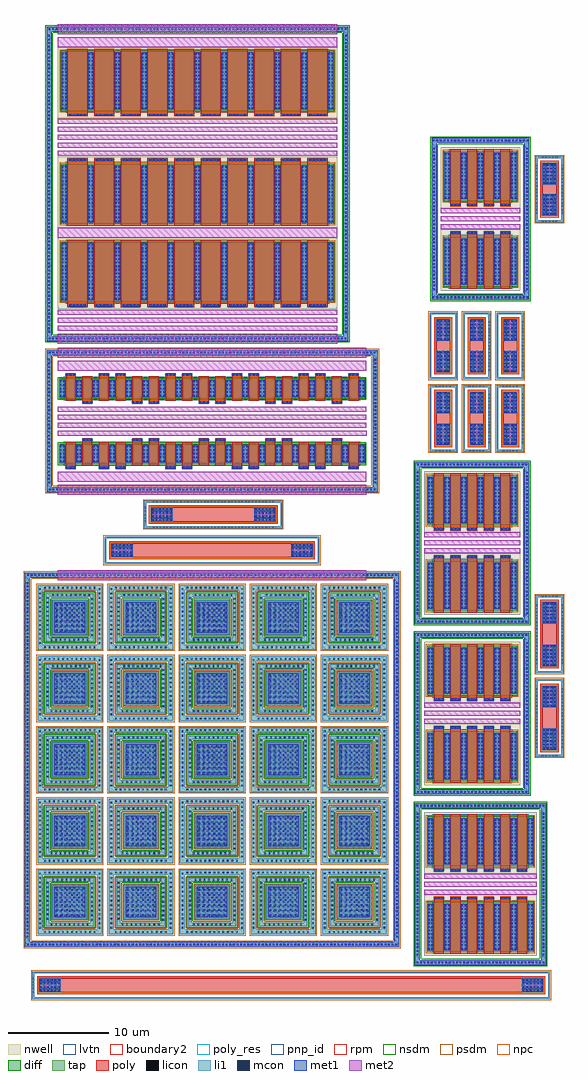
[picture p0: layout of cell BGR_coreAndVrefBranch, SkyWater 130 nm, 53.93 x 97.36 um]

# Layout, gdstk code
from math import pi, radians
import gdstk
lib = gdstk.Library(unit=1e-6, precision=5e-09)
def R(c, l, rs):  # rectangles x0, y0, x1, y1
    for r in rs: c.add(gdstk.rectangle(r[:2], r[2:], *l))
def A(c, l, x, y, w, h, nx, ny, dx, dy):  # array of equal rectangles
    R(c, l, [(x+i*dx, y+j*dy, x+i*dx+w, y+j*dy+h) for i in range(nx) for j in range(ny)])
def P(c, l, *ps):  # polygons
    for p in ps: c.add(gdstk.Polygon(p, *l))
nwell = (64, 20)
diff = (65, 20)
tap = (65, 44)
poly_res = (66, 13)
poly = (66, 20)
licon = (66, 44)
li1 = (67, 20)
mcon = (67, 44)
met1 = (68, 20)
met2 = (69, 20)
pnp_id = (82, 44)
rpm = (86, 20)
nsdm = (93, 44)
psdm = (94, 20)
npc = (95, 20)
lvtn = (125, 44)
boundary2 = (236, 0)

guard_ring_gen_12 = lib.new_cell('guard_ring_gen$12')
P(guard_ring_gen_12, tap, [(-0.5,-0.5),(-0.5,36.35),(0,36.35),(0,0),(36.35,0),(36.35,36.35),(-0.5,36.35),(-0.5,36.85),(36.85,36.85),(36.85,-0.5)])
A(guard_ring_gen_12, licon, -0.27, -0.335, 0.17, 0.17, 103, 2, 0.36, 36.85)
A(guard_ring_gen_12, licon, -0.335, 0.45, 0.17, 0.17, 1, 99, 0, 0.36)
A(guard_ring_gen_12, licon, 36.515, 0.45, 0.17, 0.17, 1, 99, 0, 0.36)
P(guard_ring_gen_12, li1, [(-0.5,-0.5),(-0.5,36.35),(0,36.35),(0,0),(36.35,0),(36.35,36.35),(-0.5,36.35),(-0.5,36.85),(36.85,36.85),(36.85,-0.5)])
A(guard_ring_gen_12, mcon, -0.27, -0.335, 0.17, 0.17, 103, 2, 0.36, 36.85)
A(guard_ring_gen_12, mcon, -0.335, 0.45, 0.17, 0.17, 1, 99, 0, 0.36)
A(guard_ring_gen_12, mcon, 36.515, 0.45, 0.17, 0.17, 1, 99, 0, 0.36)
P(guard_ring_gen_12, met1, [(-0.5,-0.5),(-0.5,36.35),(0,36.35),(0,0),(36.35,0),(36.35,36.35),(-0.5,36.35),(-0.5,36.85),(36.85,36.85),(36.85,-0.5)])
P(guard_ring_gen_12, psdm, [(-0.625,-0.625),(-0.625,36.225),(0.125,36.225),(0.125,0.125),(36.225,0.125),(36.225,36.225),(-0.625,36.225),(-0.625,36.975),(36.975,36.975),(36.975,-0.625)])

res_poly_4 = lib.new_cell('res_poly$4')
R(res_poly_4, tap, [(-1.355,-25.81,1.355,-25.64), (-1.355,-25.64,-1.185,25.64), (1.185,-25.64,1.355,25.64), (-1.355,25.64,1.355,25.81)])
R(res_poly_4, poly_res, [(-0.705,-23.06,0.705,23.06)])
R(res_poly_4, poly, [(-0.705,-25.16,0.705,25.16)])
A(res_poly_4, licon, -0.765, -25.81, 0.17, 0.17, 5, 2, 0.34, 51.45)
A(res_poly_4, licon, -1.355, -24.905, 0.17, 0.17, 1, 147, 0, 0.34)
A(res_poly_4, licon, 1.185, -24.905, 0.17, 0.17, 1, 147, 0, 0.34)
R(res_poly_4, licon, [(-0.45,-25.08,-0.26,-23.08), (0.26,-25.08,0.45,-23.08), (-0.45,23.08,-0.26,25.08), (0.26,23.08,0.45,25.08)])
R(res_poly_4, li1, [(-1.355,-25.81,1.355,-25.64), (-1.355,-25.64,-1.185,25.64), (1.185,-25.64,1.355,25.64), (-0.705,-25.16,0.705,-23), (-0.705,23,0.705,25.16), (-1.355,25.64,1.355,25.81)])
A(res_poly_4, mcon, -0.625, -25.06, 0.17, 0.17, 4, 6, 0.36, 0.36)
A(res_poly_4, mcon, -0.625, 23.095, 0.17, 0.17, 4, 6, 0.36, 0.36)
R(res_poly_4, met1, [(-0.655,-25.13,0.655,-23.025), (-0.655,23.025,0.655,25.13)])
R(res_poly_4, rpm, [(-0.905,-25.36,0.905,25.36)])
R(res_poly_4, psdm, [(-1.48,-25.935,1.48,25.935)])
R(res_poly_4, npc, [(-0.8,-25.255,0.8,25.255)])

res_poly_13 = lib.new_cell('res_poly$13')
R(res_poly_13, tap, [(-1.355,-10.71,1.355,-10.54), (-1.355,-10.54,-1.185,10.54), (1.185,-10.54,1.355,10.54), (-1.355,10.54,1.355,10.71)])
R(res_poly_13, poly_res, [(-0.705,-7.96,0.705,7.96)])
R(res_poly_13, poly, [(-0.705,-10.06,0.705,10.06)])
A(res_poly_13, licon, -0.765, -10.71, 0.17, 0.17, 5, 2, 0.34, 21.25)
A(res_poly_13, licon, -1.355, -9.945, 0.17, 0.17, 1, 59, 0, 0.34)
A(res_poly_13, licon, 1.185, -9.945, 0.17, 0.17, 1, 59, 0, 0.34)
R(res_poly_13, licon, [(-0.45,-9.98,-0.26,-7.98), (0.26,-9.98,0.45,-7.98), (-0.45,7.98,-0.26,9.98), (0.26,7.98,0.45,9.98)])
R(res_poly_13, li1, [(-1.355,-10.71,1.355,-10.54), (-1.355,-10.54,-1.185,10.54), (1.185,-10.54,1.355,10.54), (-0.705,-10.06,0.705,-7.9), (-0.705,7.9,0.705,10.06), (-1.355,10.54,1.355,10.71)])
A(res_poly_13, mcon, -0.625, -9.96, 0.17, 0.17, 4, 6, 0.36, 0.36)
A(res_poly_13, mcon, -0.625, 7.995, 0.17, 0.17, 4, 6, 0.36, 0.36)
R(res_poly_13, met1, [(-0.655,-10.03,0.655,-7.925), (-0.655,7.925,0.655,10.03)])
R(res_poly_13, rpm, [(-0.905,-10.26,0.905,10.26)])
R(res_poly_13, psdm, [(-1.48,-10.835,1.48,10.835)])
R(res_poly_13, npc, [(-0.8,-10.155,0.8,10.155)])

pnp_bjt = lib.new_cell('pnp_bjt')
R(pnp_bjt, nwell, [(0.765,0.765,5.935,5.935)])
R(pnp_bjt, diff, [(1.65,1.65,5.05,5.05)])
P(pnp_bjt, tap, [(0.945,0.945),(0.945,5.755),(5.395,5.755),(5.395,5.395),(1.305,5.395),(1.305,1.305),(5.395,1.305),(5.395,5.755),(5.755,5.755),(5.755,0.945)],
  [(0.13,0.13),(0.13,6.57),(6.065,6.57),(6.065,6.065),(0.635,6.065),(0.635,0.635),(6.065,0.635),(6.065,6.57),(6.57,6.57),(6.57,0.13)])
A(pnp_bjt, licon, 0.78, 0.29, 0.17, 0.17, 12, 2, 0.45, 5.935)
A(pnp_bjt, licon, 0.3, 0.71, 0.17, 0.17, 1, 13, 0, 0.45)
A(pnp_bjt, licon, 6.235, 0.71, 0.17, 0.17, 1, 13, 0, 0.45)
A(pnp_bjt, licon, 1.43, 1.04, 0.17, 0.17, 9, 1, 0.45, 0)
A(pnp_bjt, licon, 5.49, 1.51, 0.17, 0.17, 1, 9, 0, 0.45)
A(pnp_bjt, licon, 1.04, 1.605, 0.17, 0.17, 1, 9, 0, 0.45)
A(pnp_bjt, licon, 1.92, 1.92, 0.17, 0.17, 7, 7, 0.45, 0.45)
A(pnp_bjt, licon, 1.6, 5.49, 0.17, 0.17, 9, 1, 0.45, 0)
A(pnp_bjt, li1, 0.58, 0.21, 0.33, 0.33, 12, 1, 0.45, 0)
A(pnp_bjt, li1, 0.675, 0.24, 0.27, 0.27, 11, 2, 0.5, 5.96)
A(pnp_bjt, li1, 6.16, 0.54, 0.33, 0.33, 1, 13, 0, 0.45)
A(pnp_bjt, li1, 0.22, 0.63, 0.33, 0.33, 1, 13, 0, 0.45)
A(pnp_bjt, li1, 1.35, 0.96, 0.33, 0.33, 9, 1, 0.45, 0)
A(pnp_bjt, li1, 1.14, 0.985, 0.27, 0.27, 9, 1, 0.5, 0)
A(pnp_bjt, li1, 5.41, 1.43, 0.33, 0.33, 1, 9, 0, 0.45)
A(pnp_bjt, li1, 0.96, 1.525, 0.33, 0.33, 1, 9, 0, 0.45)
A(pnp_bjt, li1, 1.84, 1.84, 0.33, 0.33, 7, 7, 0.45, 0.45)
A(pnp_bjt, li1, 1.93, 1.93, 0.27, 0.27, 6, 6, 0.5, 0.5)
A(pnp_bjt, li1, 1.52, 5.41, 0.33, 0.33, 9, 1, 0.45, 0)
A(pnp_bjt, li1, 1.155, 5.44, 0.27, 0.27, 9, 1, 0.5, 0)
A(pnp_bjt, li1, 0.7, 6.165, 0.33, 0.33, 12, 1, 0.45, 0)
R(pnp_bjt, li1, [(1.615,1.615,5.085,5.085), (1.65,1.65,5.05,5.05)])
P(pnp_bjt, li1, [(0.13,0.13),(0.13,6.57),(6.075,6.57),(6.075,6.075),(0.625,6.075),(0.625,0.625),(6.075,0.625),(6.075,6.57),(6.57,6.57),(6.57,0.13)],
  [(0.945,0.945),(0.945,5.755),(5.395,5.755),(5.395,5.395),(1.305,5.395),(1.305,1.305),(5.395,1.305),(5.395,5.755),(5.755,5.755),(5.755,0.945)])
A(pnp_bjt, mcon, 1.98, 1.98, 0.17, 0.17, 6, 6, 0.5, 0.5)
A(pnp_bjt, met1, 1.93, 1.93, 0.27, 0.27, 6, 6, 0.5, 0.5)
R(pnp_bjt, met1, [(1.825,1.825,4.875,4.875)])
R(pnp_bjt, pnp_id, [(0.135,0.135,6.565,6.565)])
P(pnp_bjt, nsdm, [(0.805,0.805),(0.805,5.895),(5.265,5.895),(5.265,5.265),(1.435,5.265),(1.435,1.435),(5.265,1.435),(5.265,5.895),(5.895,5.895),(5.895,0.805)])
R(pnp_bjt, psdm, [(1.52,1.52,5.18,5.18)])
P(pnp_bjt, psdm, [(0,0),(0,6.7),(5.935,6.7),(5.935,5.935),(0.765,5.935),(0.765,0.765),(5.935,0.765),(5.935,6.7),(6.7,6.7),(6.7,0)])
R(pnp_bjt, boundary2, [(0.13,0.13,6.57,6.57)])
pnp_bjt.add(gdstk.Label('Emitter', (3.39,3.39), layer=67, texttype=5))
pnp_bjt.add(gdstk.Label('Collector', (3.32,6.38), layer=67, texttype=5))
pnp_bjt.add(gdstk.Label('Base', (3.245,5.61), layer=67, texttype=5))

guard_ring_gen_5 = lib.new_cell('guard_ring_gen$5')
P(guard_ring_gen_5, tap, [(-0.5,-0.5),(-0.5,15.145),(0,15.145),(0,0),(10.42,0),(10.42,15.145),(-0.5,15.145),(-0.5,15.645),(10.92,15.645),(10.92,-0.5)])
A(guard_ring_gen_5, licon, -0.275, -0.335, 0.17, 0.17, 31, 2, 0.36, 15.645)
A(guard_ring_gen_5, licon, -0.335, 0.47, 0.17, 0.17, 1, 40, 0, 0.36)
A(guard_ring_gen_5, licon, 10.585, 0.47, 0.17, 0.17, 1, 40, 0, 0.36)
P(guard_ring_gen_5, li1, [(-0.5,-0.5),(-0.5,15.145),(0,15.145),(0,0),(10.42,0),(10.42,15.145),(-0.5,15.145),(-0.5,15.645),(10.92,15.645),(10.92,-0.5)])
A(guard_ring_gen_5, mcon, -0.275, -0.335, 0.17, 0.17, 31, 2, 0.36, 15.645)
A(guard_ring_gen_5, mcon, -0.335, 0.47, 0.17, 0.17, 1, 40, 0, 0.36)
A(guard_ring_gen_5, mcon, 10.585, 0.47, 0.17, 0.17, 1, 40, 0, 0.36)
P(guard_ring_gen_5, met1, [(-0.5,-0.5),(-0.5,15.145),(0,15.145),(0,0),(10.42,0),(10.42,15.145),(-0.5,15.145),(-0.5,15.645),(10.92,15.645),(10.92,-0.5)])
P(guard_ring_gen_5, nsdm, [(-0.625,-0.625),(-0.625,15.02),(0.125,15.02),(0.125,0.125),(10.295,0.125),(10.295,15.02),(-0.625,15.02),(-0.625,15.77),(11.045,15.77),(11.045,-0.625)])

guard_ring_gen_13 = lib.new_cell('guard_ring_gen$13')
P(guard_ring_gen_13, tap, [(-0.5,-0.5),(-0.5,13.165),(0,13.165),(0,0),(32.04,0),(32.04,13.165),(-0.5,13.165),(-0.5,13.665),(32.54,13.665),(32.54,-0.5)])
A(guard_ring_gen_13, licon, -0.265, -0.335, 0.17, 0.17, 91, 2, 0.36, 13.665)
A(guard_ring_gen_13, licon, -0.335, 0.38, 0.17, 0.17, 1, 35, 0, 0.36)
A(guard_ring_gen_13, licon, 32.205, 0.38, 0.17, 0.17, 1, 35, 0, 0.36)
P(guard_ring_gen_13, li1, [(-0.5,-0.5),(-0.5,13.165),(0,13.165),(0,0),(32.04,0),(32.04,13.165),(-0.5,13.165),(-0.5,13.665),(32.54,13.665),(32.54,-0.5)])
A(guard_ring_gen_13, mcon, -0.265, -0.335, 0.17, 0.17, 91, 2, 0.36, 13.665)
A(guard_ring_gen_13, mcon, -0.335, 0.38, 0.17, 0.17, 1, 35, 0, 0.36)
A(guard_ring_gen_13, mcon, 32.205, 0.38, 0.17, 0.17, 1, 35, 0, 0.36)
P(guard_ring_gen_13, met1, [(-0.5,-0.5),(-0.5,13.165),(0,13.165),(0,0),(32.04,0),(32.04,13.165),(-0.5,13.165),(-0.5,13.665),(32.54,13.665),(32.54,-0.5)])
P(guard_ring_gen_13, psdm, [(-0.625,-0.625),(-0.625,13.04),(0.125,13.04),(0.125,0.125),(31.915,0.125),(31.915,13.04),(-0.625,13.04),(-0.625,13.79),(32.665,13.79),(32.665,-0.625)])

nfet_3 = lib.new_cell('nfet$3')
R(nfet_3, diff, [(0,0,2.32,2)])
R(nfet_3, poly, [(0.66,-0.2,1.66,2.2), (0.66,2.2,1.66,2.53)])
A(nfet_3, licon, 0.065, 0.195, 0.17, 0.17, 1, 5, 0, 0.36)
A(nfet_3, licon, 0.425, 0.195, 0.17, 0.17, 1, 5, 0, 0.36)
A(nfet_3, licon, 1.725, 0.195, 0.17, 0.17, 1, 5, 0, 0.36)
A(nfet_3, licon, 2.085, 0.195, 0.17, 0.17, 1, 5, 0, 0.36)
A(nfet_3, licon, 0.715, 2.28, 0.17, 0.17, 3, 1, 0.36, 0)
R(nfet_3, li1, [(0.065,0.115,0.595,1.885), (1.725,0.115,2.255,1.885), (0.635,2.28,1.685,2.45)])
A(nfet_3, mcon, 0.065, 0.195, 0.17, 0.17, 1, 5, 0, 0.36)
A(nfet_3, mcon, 0.425, 0.195, 0.17, 0.17, 1, 5, 0, 0.36)
A(nfet_3, mcon, 1.725, 0.195, 0.17, 0.17, 1, 5, 0, 0.36)
A(nfet_3, mcon, 2.085, 0.195, 0.17, 0.17, 1, 5, 0, 0.36)
A(nfet_3, mcon, 0.715, 2.28, 0.17, 0.17, 3, 1, 0.36, 0)
R(nfet_3, met1, [(0.035,0.135,0.625,1.865), (1.695,0.135,2.285,1.865), (0.655,2.25,1.665,2.48)])
R(nfet_3, nsdm, [(-0.125,-0.125,2.445,2.125)])
R(nfet_3, npc, [(0.65,2.19,1.67,2.54)])
R(nfet_3, lvtn, [(0.48,-0.18,1.84,2.18)])

nfet = lib.new_cell('nfet')
R(nfet, diff, [(0,0,2.32,2)])
R(nfet, poly, [(0.66,-0.53,1.66,-0.2), (0.66,-0.2,1.66,2.2)])
A(nfet, licon, 0.715, -0.45, 0.17, 0.17, 3, 1, 0.36, 0)
A(nfet, licon, 0.065, 0.195, 0.17, 0.17, 1, 5, 0, 0.36)
A(nfet, licon, 0.425, 0.195, 0.17, 0.17, 1, 5, 0, 0.36)
A(nfet, licon, 1.725, 0.195, 0.17, 0.17, 1, 5, 0, 0.36)
A(nfet, licon, 2.085, 0.195, 0.17, 0.17, 1, 5, 0, 0.36)
R(nfet, li1, [(0.635,-0.45,1.685,-0.28), (0.065,0.115,0.595,1.885), (1.725,0.115,2.255,1.885)])
A(nfet, mcon, 0.715, -0.45, 0.17, 0.17, 3, 1, 0.36, 0)
A(nfet, mcon, 0.065, 0.195, 0.17, 0.17, 1, 5, 0, 0.36)
A(nfet, mcon, 0.425, 0.195, 0.17, 0.17, 1, 5, 0, 0.36)
A(nfet, mcon, 1.725, 0.195, 0.17, 0.17, 1, 5, 0, 0.36)
A(nfet, mcon, 2.085, 0.195, 0.17, 0.17, 1, 5, 0, 0.36)
R(nfet, met1, [(0.655,-0.48,1.665,-0.25), (0.035,0.135,0.625,1.865), (1.695,0.135,2.285,1.865)])
R(nfet, nsdm, [(-0.125,-0.125,2.445,2.125)])
R(nfet, npc, [(0.65,-0.54,1.67,-0.19)])
R(nfet, lvtn, [(0.48,-0.18,1.84,2.18)])

guard_ring_gen_1 = lib.new_cell('guard_ring_gen$1')
P(guard_ring_gen_1, tap, [(-0.5,-0.5),(-0.5,30.38),(0,30.38),(0,0),(29.12,0),(29.12,30.38),(-0.5,30.38),(-0.5,30.88),(29.62,30.88),(29.62,-0.5)])
A(guard_ring_gen_1, licon, -0.285, -0.335, 0.17, 0.17, 83, 2, 0.36, 30.88)
A(guard_ring_gen_1, licon, -0.335, 0.345, 0.17, 0.17, 1, 83, 0, 0.36)
A(guard_ring_gen_1, licon, 29.285, 0.345, 0.17, 0.17, 1, 83, 0, 0.36)
P(guard_ring_gen_1, li1, [(-0.5,-0.5),(-0.5,30.38),(0,30.38),(0,0),(29.12,0),(29.12,30.38),(-0.5,30.38),(-0.5,30.88),(29.62,30.88),(29.62,-0.5)])
A(guard_ring_gen_1, mcon, -0.285, -0.335, 0.17, 0.17, 83, 2, 0.36, 30.88)
A(guard_ring_gen_1, mcon, -0.335, 0.345, 0.17, 0.17, 1, 83, 0, 0.36)
A(guard_ring_gen_1, mcon, 29.285, 0.345, 0.17, 0.17, 1, 83, 0, 0.36)
P(guard_ring_gen_1, met1, [(-0.5,-0.5),(-0.5,30.38),(0,30.38),(0,0),(29.12,0),(29.12,30.38),(-0.5,30.38),(-0.5,30.88),(29.62,30.88),(29.62,-0.5)])
P(guard_ring_gen_1, nsdm, [(-0.625,-0.625),(-0.625,30.255),(0.125,30.255),(0.125,0.125),(28.995,0.125),(28.995,30.255),(-0.625,30.255),(-0.625,31.005),(29.745,31.005),(29.745,-0.625)])

pfet = lib.new_cell('pfet')
R(pfet, nwell, [(-0.305,-0.38,2.625,5.72)])
R(pfet, diff, [(0,0,2.32,5)])
R(pfet, poly, [(0.66,-0.2,1.66,5.2), (0.66,5.2,1.66,5.53)])
A(pfet, licon, 0.065, 0.255, 0.17, 0.17, 1, 13, 0, 0.36)
A(pfet, licon, 0.425, 0.255, 0.17, 0.17, 1, 13, 0, 0.36)
A(pfet, licon, 1.725, 0.255, 0.17, 0.17, 1, 13, 0, 0.36)
A(pfet, licon, 2.085, 0.255, 0.17, 0.17, 1, 13, 0, 0.36)
A(pfet, licon, 0.715, 5.28, 0.17, 0.17, 3, 1, 0.36, 0)
R(pfet, li1, [(0.065,0.175,0.595,4.825), (1.725,0.175,2.255,4.825), (0.635,5.28,1.685,5.45)])
A(pfet, mcon, 0.065, 0.255, 0.17, 0.17, 1, 13, 0, 0.36)
A(pfet, mcon, 0.425, 0.255, 0.17, 0.17, 1, 13, 0, 0.36)
A(pfet, mcon, 1.725, 0.255, 0.17, 0.17, 1, 13, 0, 0.36)
A(pfet, mcon, 2.085, 0.255, 0.17, 0.17, 1, 13, 0, 0.36)
A(pfet, mcon, 0.715, 5.28, 0.17, 0.17, 3, 1, 0.36, 0)
R(pfet, met1, [(0.035,0.195,0.625,4.805), (1.695,0.195,2.285,4.805), (0.655,5.25,1.665,5.48)])
R(pfet, psdm, [(-0.125,-0.125,2.445,5.125)])
R(pfet, npc, [(0.65,5.19,1.67,5.54)])
R(pfet, lvtn, [(0.48,-0.18,1.84,5.18)])

res_poly_6 = lib.new_cell('res_poly$6')
R(res_poly_6, tap, [(-1.355,-6.87,1.355,-6.7), (-1.355,-6.7,-1.185,6.7), (1.185,-6.7,1.355,6.7), (-1.355,6.7,1.355,6.87)])
R(res_poly_6, poly_res, [(-0.705,-4.12,0.705,4.12)])
R(res_poly_6, poly, [(-0.705,-6.22,0.705,6.22)])
A(res_poly_6, licon, -0.765, -6.87, 0.17, 0.17, 5, 2, 0.34, 13.57)
A(res_poly_6, licon, -1.355, -6.035, 0.17, 0.17, 1, 36, 0, 0.34)
A(res_poly_6, licon, 1.185, -6.035, 0.17, 0.17, 1, 36, 0, 0.34)
R(res_poly_6, licon, [(-0.45,-6.14,-0.26,-4.14), (0.26,-6.14,0.45,-4.14), (-0.45,4.14,-0.26,6.14), (0.26,4.14,0.45,6.14)])
R(res_poly_6, li1, [(-1.355,-6.87,1.355,-6.7), (-1.355,-6.7,-1.185,6.7), (1.185,-6.7,1.355,6.7), (-0.705,-6.22,0.705,-4.06), (-0.705,4.06,0.705,6.22), (-1.355,6.7,1.355,6.87)])
A(res_poly_6, mcon, -0.625, -6.12, 0.17, 0.17, 4, 6, 0.36, 0.36)
A(res_poly_6, mcon, -0.625, 4.155, 0.17, 0.17, 4, 6, 0.36, 0.36)
R(res_poly_6, met1, [(-0.655,-6.19,0.655,-4.085), (-0.655,4.085,0.655,6.19)])
R(res_poly_6, rpm, [(-0.905,-6.42,0.905,6.42)])
R(res_poly_6, psdm, [(-1.48,-6.995,1.48,6.995)])
R(res_poly_6, npc, [(-0.8,-6.315,0.8,6.315)])

pfet_1 = lib.new_cell('pfet$1')
R(pfet_1, nwell, [(-0.305,-0.38,3.625,6.72)])
R(pfet_1, diff, [(0,0,3.32,6)])
R(pfet_1, poly, [(0.66,-0.2,2.66,6.2), (0.66,6.2,2.66,6.53)])
A(pfet_1, licon, 0.065, 0.215, 0.17, 0.17, 1, 16, 0, 0.36)
A(pfet_1, licon, 0.425, 0.215, 0.17, 0.17, 1, 16, 0, 0.36)
A(pfet_1, licon, 2.725, 0.215, 0.17, 0.17, 1, 16, 0, 0.36)
A(pfet_1, licon, 3.085, 0.215, 0.17, 0.17, 1, 16, 0, 0.36)
A(pfet_1, licon, 0.855, 6.28, 0.17, 0.17, 5, 1, 0.36, 0)
R(pfet_1, li1, [(0.065,0.135,0.595,5.865), (2.725,0.135,3.255,5.865), (0.775,6.28,2.545,6.45)])
A(pfet_1, mcon, 0.065, 0.215, 0.17, 0.17, 1, 16, 0, 0.36)
A(pfet_1, mcon, 0.425, 0.215, 0.17, 0.17, 1, 16, 0, 0.36)
A(pfet_1, mcon, 2.725, 0.215, 0.17, 0.17, 1, 16, 0, 0.36)
A(pfet_1, mcon, 3.085, 0.215, 0.17, 0.17, 1, 16, 0, 0.36)
A(pfet_1, mcon, 0.855, 6.28, 0.17, 0.17, 5, 1, 0.36, 0)
R(pfet_1, met1, [(0.035,0.155,0.625,5.845), (2.695,0.155,3.285,5.845), (0.795,6.25,2.525,6.48)])
R(pfet_1, psdm, [(-0.125,-0.125,3.445,6.125)])
R(pfet_1, npc, [(0.65,6.19,2.67,6.54)])
R(pfet_1, lvtn, [(0.48,-0.18,2.84,6.18)])

res_poly_1 = lib.new_cell('res_poly$1')
R(res_poly_1, tap, [(-1.355,-3.31,1.355,-3.14), (-1.355,-3.14,-1.185,3.14), (1.185,-3.14,1.355,3.14), (-1.355,3.14,1.355,3.31)])
R(res_poly_1, poly_res, [(-0.705,-0.56,0.705,0.56)])
R(res_poly_1, poly, [(-0.705,-2.66,0.705,2.66)])
A(res_poly_1, licon, -0.765, -3.31, 0.17, 0.17, 5, 2, 0.34, 6.45)
A(res_poly_1, licon, -1.355, -2.465, 0.17, 0.17, 1, 15, 0, 0.34)
A(res_poly_1, licon, 1.185, -2.465, 0.17, 0.17, 1, 15, 0, 0.34)
R(res_poly_1, licon, [(-0.45,-2.58,-0.26,-0.58), (0.26,-2.58,0.45,-0.58), (-0.45,0.58,-0.26,2.58), (0.26,0.58,0.45,2.58)])
R(res_poly_1, li1, [(-1.355,-3.31,1.355,-3.14), (-1.355,-3.14,-1.185,3.14), (1.185,-3.14,1.355,3.14), (-0.705,-2.66,0.705,-0.5), (-0.705,0.5,0.705,2.66), (-1.355,3.14,1.355,3.31)])
A(res_poly_1, mcon, -0.625, -2.56, 0.17, 0.17, 4, 6, 0.36, 0.36)
A(res_poly_1, mcon, -0.625, 0.595, 0.17, 0.17, 4, 6, 0.36, 0.36)
R(res_poly_1, met1, [(-0.655,-2.63,0.655,-0.525), (-0.655,0.525,0.655,2.63)])
R(res_poly_1, rpm, [(-0.905,-2.86,0.905,2.86)])
R(res_poly_1, psdm, [(-1.48,-3.435,1.48,3.435)])
R(res_poly_1, npc, [(-0.8,-2.755,0.8,2.755)])

res_poly = lib.new_cell('res_poly')
R(res_poly, tap, [(-1.355,-3.27,1.355,-3.1), (-1.355,-3.1,-1.185,3.1), (1.185,-3.1,1.355,3.1), (-1.355,3.1,1.355,3.27)])
R(res_poly, poly_res, [(-0.705,-0.52,0.705,0.52)])
R(res_poly, poly, [(-0.705,-2.62,0.705,2.62)])
A(res_poly, licon, -0.765, -3.27, 0.17, 0.17, 5, 2, 0.34, 6.37)
A(res_poly, licon, -1.355, -2.465, 0.17, 0.17, 1, 15, 0, 0.34)
A(res_poly, licon, 1.185, -2.465, 0.17, 0.17, 1, 15, 0, 0.34)
R(res_poly, licon, [(-0.45,-2.54,-0.26,-0.54), (0.26,-2.54,0.45,-0.54), (-0.45,0.54,-0.26,2.54), (0.26,0.54,0.45,2.54)])
R(res_poly, li1, [(-1.355,-3.27,1.355,-3.1), (-1.355,-3.1,-1.185,3.1), (1.185,-3.1,1.355,3.1), (-0.705,-2.62,0.705,-0.46), (-0.705,0.46,0.705,2.62), (-1.355,3.1,1.355,3.27)])
A(res_poly, mcon, -0.625, -2.52, 0.17, 0.17, 4, 6, 0.36, 0.36)
A(res_poly, mcon, -0.625, 0.555, 0.17, 0.17, 4, 6, 0.36, 0.36)
R(res_poly, met1, [(-0.655,-2.59,0.655,-0.485), (-0.655,0.485,0.655,2.59)])
R(res_poly, rpm, [(-0.905,-2.82,0.905,2.82)])
R(res_poly, psdm, [(-1.48,-3.395,1.48,3.395)])
R(res_poly, npc, [(-0.8,-2.715,0.8,2.715)])

guard_ring_gen_7 = lib.new_cell('guard_ring_gen$7')
P(guard_ring_gen_7, tap, [(-0.5,-0.5),(-0.5,15.145),(0,15.145),(0,0),(8.76,0),(8.76,15.145),(-0.5,15.145),(-0.5,15.645),(9.26,15.645),(9.26,-0.5)])
A(guard_ring_gen_7, licon, -0.385, -0.335, 0.17, 0.17, 27, 2, 0.36, 15.645)
A(guard_ring_gen_7, licon, -0.335, 0.47, 0.17, 0.17, 1, 40, 0, 0.36)
A(guard_ring_gen_7, licon, 8.925, 0.47, 0.17, 0.17, 1, 40, 0, 0.36)
P(guard_ring_gen_7, li1, [(-0.5,-0.5),(-0.5,15.145),(0,15.145),(0,0),(8.76,0),(8.76,15.145),(-0.5,15.145),(-0.5,15.645),(9.26,15.645),(9.26,-0.5)])
A(guard_ring_gen_7, mcon, -0.385, -0.335, 0.17, 0.17, 27, 2, 0.36, 15.645)
A(guard_ring_gen_7, mcon, -0.335, 0.47, 0.17, 0.17, 1, 40, 0, 0.36)
A(guard_ring_gen_7, mcon, 8.925, 0.47, 0.17, 0.17, 1, 40, 0, 0.36)
P(guard_ring_gen_7, met1, [(-0.5,-0.5),(-0.5,15.145),(0,15.145),(0,0),(8.76,0),(8.76,15.145),(-0.5,15.145),(-0.5,15.645),(9.26,15.645),(9.26,-0.5)])
P(guard_ring_gen_7, nsdm, [(-0.625,-0.625),(-0.625,15.02),(0.125,15.02),(0.125,0.125),(8.635,0.125),(8.635,15.02),(-0.625,15.02),(-0.625,15.77),(9.385,15.77),(9.385,-0.625)])

res_poly_2 = lib.new_cell('res_poly$2')
R(res_poly_2, tap, [(-1.355,-3.86,1.355,-3.69), (-1.355,-3.69,-1.185,3.69), (1.185,-3.69,1.355,3.69), (-1.355,3.69,1.355,3.86)])
R(res_poly_2, poly_res, [(-0.705,-1.11,0.705,1.11)])
R(res_poly_2, poly, [(-0.705,-3.21,0.705,3.21)])
A(res_poly_2, licon, -0.765, -3.86, 0.17, 0.17, 5, 2, 0.34, 7.55)
A(res_poly_2, licon, -1.355, -2.975, 0.17, 0.17, 1, 18, 0, 0.34)
A(res_poly_2, licon, 1.185, -2.975, 0.17, 0.17, 1, 18, 0, 0.34)
R(res_poly_2, licon, [(-0.45,-3.13,-0.26,-1.13), (0.26,-3.13,0.45,-1.13), (-0.45,1.13,-0.26,3.13), (0.26,1.13,0.45,3.13)])
R(res_poly_2, li1, [(-1.355,-3.86,1.355,-3.69), (-1.355,-3.69,-1.185,3.69), (1.185,-3.69,1.355,3.69), (-0.705,-3.21,0.705,-1.05), (-0.705,1.05,0.705,3.21), (-1.355,3.69,1.355,3.86)])
A(res_poly_2, mcon, -0.625, -3.11, 0.17, 0.17, 4, 6, 0.36, 0.36)
A(res_poly_2, mcon, -0.625, 1.145, 0.17, 0.17, 4, 6, 0.36, 0.36)
R(res_poly_2, met1, [(-0.655,-3.18,0.655,-1.075), (-0.655,1.075,0.655,3.18)])
R(res_poly_2, rpm, [(-0.905,-3.41,0.905,3.41)])
R(res_poly_2, psdm, [(-1.48,-3.985,1.48,3.985)])
R(res_poly_2, npc, [(-0.8,-3.305,0.8,3.305)])

guard_ring_gen = lib.new_cell('guard_ring_gen')
P(guard_ring_gen, tap, [(-0.5,-0.5),(-0.5,15.145),(0,15.145),(0,0),(12.08,0),(12.08,15.145),(-0.5,15.145),(-0.5,15.645),(12.58,15.645),(12.58,-0.5)])
A(guard_ring_gen, licon, -0.345, -0.335, 0.17, 0.17, 36, 2, 0.36, 15.645)
A(guard_ring_gen, licon, -0.335, 0.47, 0.17, 0.17, 1, 40, 0, 0.36)
A(guard_ring_gen, licon, 12.245, 0.47, 0.17, 0.17, 1, 40, 0, 0.36)
P(guard_ring_gen, li1, [(-0.5,-0.5),(-0.5,15.145),(0,15.145),(0,0),(12.08,0),(12.08,15.145),(-0.5,15.145),(-0.5,15.645),(12.58,15.645),(12.58,-0.5)])
A(guard_ring_gen, mcon, -0.345, -0.335, 0.17, 0.17, 36, 2, 0.36, 15.645)
A(guard_ring_gen, mcon, -0.335, 0.47, 0.17, 0.17, 1, 40, 0, 0.36)
A(guard_ring_gen, mcon, 12.245, 0.47, 0.17, 0.17, 1, 40, 0, 0.36)
P(guard_ring_gen, met1, [(-0.5,-0.5),(-0.5,15.145),(0,15.145),(0,0),(12.08,0),(12.08,15.145),(-0.5,15.145),(-0.5,15.645),(12.58,15.645),(12.58,-0.5)])
P(guard_ring_gen, nsdm, [(-0.625,-0.625),(-0.625,15.02),(0.125,15.02),(0.125,0.125),(11.955,0.125),(11.955,15.02),(-0.625,15.02),(-0.625,15.77),(12.705,15.77),(12.705,-0.625)])

bgr_coreandvrefbranch = lib.new_cell('BGR_coreAndVrefBranch')
R(bgr_coreandvrefbranch, lvtn, [(103.505,116.72,113.165,122.08), (106.825,116.72,113.165,122.08), (103.505,125.255,113.165,130.615), (103.505,133.745,111.505,139.105), (105.165,133.745,111.505,139.105), (103.505,142.28,111.505,147.64), (103.505,150.75,111.505,156.11), (105.165,150.75,111.505,156.11), (103.505,159.285,111.505,164.645), (66.78,165.42,96.36,167.78), (66.78,171.925,96.36,174.285), (66.96,181.585,93.26,187.945), (105.165,183.08,111.505,188.44), (66.96,189.345,93.26,195.705), (105.165,191.615,111.505,196.975), (66.96,200.605,93.26,206.965)])
bgr_coreandvrefbranch.add(gdstk.FlexPath([(94.045,207.665),(66.175,207.665)], 1, ends="flush", simple_path=True, layer=69, datatype=20))  # met2
bgr_coreandvrefbranch.add(gdstk.FlexPath([(96.965,163.02),(66.175,163.02)], 1, ends="flush", simple_path=True, layer=69, datatype=20))  # met2
bgr_coreandvrefbranch.add(gdstk.FlexPath([(96.955,176.685),(66.175,176.685)], 1, ends="flush", simple_path=True, layer=69, datatype=20))  # met2
bgr_coreandvrefbranch.add(gdstk.FlexPath([(96.965,164.32),(66.175,164.32)], 1, ends="flush", simple_path=True, layer=69, datatype=20))  # met2
bgr_coreandvrefbranch.add(gdstk.FlexPath([(96.975,168.63),(66.165,168.63)], 0.5, ends="flush", simple_path=True, layer=69, datatype=20))  # met2
bgr_coreandvrefbranch.add(gdstk.FlexPath([(96.965,169.425),(66.165,169.425)], 0.5, ends="flush", simple_path=True, layer=69, datatype=20))  # met2
bgr_coreandvrefbranch.add(gdstk.FlexPath([(96.965,170.225),(66.165,170.225)], 0.5, ends="flush", simple_path=True, layer=69, datatype=20))  # met2
bgr_coreandvrefbranch.add(gdstk.FlexPath([(96.965,171.025),(66.175,171.025)], 0.5, ends="flush", simple_path=True, layer=69, datatype=20))  # met2
bgr_coreandvrefbranch.add(gdstk.FlexPath([(96.955,175.385),(66.175,175.385)], 1, ends="flush", simple_path=True, layer=69, datatype=20))  # met2
bgr_coreandvrefbranch.add(gdstk.FlexPath([(94.045,196.555),(66.175,196.555)], 0.5, ends="flush", simple_path=True, layer=69, datatype=20))  # met2
bgr_coreandvrefbranch.add(gdstk.FlexPath([(94.045,198.955),(66.175,198.955)], 0.5, ends="flush", simple_path=True, layer=69, datatype=20))  # met2
bgr_coreandvrefbranch.add(gdstk.FlexPath([(94.045,199.755),(66.175,199.755)], 0.5, ends="flush", simple_path=True, layer=69, datatype=20))  # met2
bgr_coreandvrefbranch.add(gdstk.FlexPath([(94.045,198.155),(66.175,198.155)], 0.5, ends="flush", simple_path=True, layer=69, datatype=20))  # met2
bgr_coreandvrefbranch.add(gdstk.FlexPath([(94.045,197.355),(66.175,197.355)], 0.5, ends="flush", simple_path=True, layer=69, datatype=20))  # met2
bgr_coreandvrefbranch.add(gdstk.FlexPath([(94.045,188.645),(66.175,188.645)], 1, ends="flush", simple_path=True, layer=69, datatype=20))  # met2
bgr_coreandvrefbranch.add(gdstk.FlexPath([(94.045,179.135),(66.175,179.135)], 0.5, ends="flush", simple_path=True, layer=69, datatype=20))  # met2
bgr_coreandvrefbranch.add(gdstk.FlexPath([(94.045,180.735),(66.175,180.735)], 0.5, ends="flush", simple_path=True, layer=69, datatype=20))  # met2
bgr_coreandvrefbranch.add(gdstk.FlexPath([(94.045,179.935),(66.175,179.935)], 0.5, ends="flush", simple_path=True, layer=69, datatype=20))  # met2
bgr_coreandvrefbranch.add(gdstk.FlexPath([(94.045,178.085),(66.175,178.085)], 1, ends="flush", simple_path=True, layer=69, datatype=20))  # met2
bgr_coreandvrefbranch.add(gdstk.FlexPath([(94.045,208.965),(66.175,208.965)], 1, ends="flush", simple_path=True, layer=69, datatype=20))  # met2
bgr_coreandvrefbranch.add(gdstk.FlexPath([(104.38,190.825),(112.29,190.825)], 0.5, ends="flush", simple_path=True, layer=69, datatype=20))  # met2
bgr_coreandvrefbranch.add(gdstk.FlexPath([(104.38,190.03),(112.29,190.03)], 0.5, ends="flush", simple_path=True, layer=69, datatype=20))  # met2
bgr_coreandvrefbranch.add(gdstk.FlexPath([(104.38,189.23),(112.29,189.23)], 0.5, ends="flush", simple_path=True, layer=69, datatype=20))  # met2
bgr_coreandvrefbranch.add(gdstk.FlexPath([(102.72,124.465),(113.95,124.465)], 0.5, ends="flush", simple_path=True, layer=69, datatype=20))  # met2
bgr_coreandvrefbranch.add(gdstk.FlexPath([(102.72,123.67),(113.95,123.67)], 0.5, ends="flush", simple_path=True, layer=69, datatype=20))  # met2
bgr_coreandvrefbranch.add(gdstk.FlexPath([(102.72,122.87),(113.95,122.87)], 0.5, ends="flush", simple_path=True, layer=69, datatype=20))  # met2
bgr_coreandvrefbranch.add(gdstk.FlexPath([(102.72,158.495),(112.29,158.495)], 0.5, ends="flush", simple_path=True, layer=69, datatype=20))  # met2
bgr_coreandvrefbranch.add(gdstk.FlexPath([(102.72,157.7),(112.29,157.7)], 0.5, ends="flush", simple_path=True, layer=69, datatype=20))  # met2
bgr_coreandvrefbranch.add(gdstk.FlexPath([(102.72,156.9),(112.29,156.9)], 0.5, ends="flush", simple_path=True, layer=69, datatype=20))  # met2
bgr_coreandvrefbranch.add(gdstk.FlexPath([(102.72,141.49),(112.29,141.49)], 0.5, ends="flush", simple_path=True, layer=69, datatype=20))  # met2
bgr_coreandvrefbranch.add(gdstk.FlexPath([(102.72,140.695),(112.29,140.695)], 0.5, ends="flush", simple_path=True, layer=69, datatype=20))  # met2
bgr_coreandvrefbranch.add(gdstk.FlexPath([(102.72,139.895),(112.29,139.895)], 0.5, ends="flush", simple_path=True, layer=69, datatype=20))  # met2
bgr_coreandvrefbranch.add(gdstk.FlexPath([(96.965,154.5),(66.175,154.5)], 1, ends="flush", simple_path=True, layer=69, datatype=20))  # met2
bgr_coreandvrefbranch.add(gdstk.Reference(guard_ring_gen_12, (63.395,117.9)))
bgr_coreandvrefbranch.add(gdstk.Reference(res_poly_4, (89.46,113.59), rotation=3*pi/2))
bgr_coreandvrefbranch.add(gdstk.Reference(res_poly_13, (81.56,156.98), rotation=pi/2))
bgr_coreandvrefbranch.add(gdstk.Reference(pnp_bjt, (85.32,146.925)))
bgr_coreandvrefbranch.add(gdstk.Reference(pnp_bjt, (85.32,132.725)))
bgr_coreandvrefbranch.add(gdstk.Reference(pnp_bjt, (85.32,125.625)))
bgr_coreandvrefbranch.add(gdstk.Reference(pnp_bjt, (85.32,139.825)))
bgr_coreandvrefbranch.add(gdstk.Reference(pnp_bjt, (85.32,118.525)))
bgr_coreandvrefbranch.add(gdstk.Reference(guard_ring_gen_5, (102.295,150.125)))
bgr_coreandvrefbranch.add(gdstk.Reference(guard_ring_gen_13, (65.55,163.27)))
bgr_coreandvrefbranch.add(gdstk.Reference(nfet_3, (89.54,167.6), x_reflection=True))
bgr_coreandvrefbranch.add(gdstk.Reference(nfet, (87.88,167.6), x_reflection=True))
bgr_coreandvrefbranch.add(gdstk.Reference(guard_ring_gen_1, (65.55,178.335)))
bgr_coreandvrefbranch.add(gdstk.Reference(nfet_3, (89.54,172.105)))
bgr_coreandvrefbranch.add(gdstk.Reference(nfet, (87.88,172.105)))
bgr_coreandvrefbranch.add(gdstk.Reference(pfet, (105.345,164.465), rotation=pi))
bgr_coreandvrefbranch.add(gdstk.Reference(pfet, (108.665,164.465), rotation=pi))
bgr_coreandvrefbranch.add(gdstk.Reference(pfet, (110.325,164.465), rotation=pi))
bgr_coreandvrefbranch.add(gdstk.Reference(pfet, (111.985,164.465), rotation=pi))
bgr_coreandvrefbranch.add(gdstk.Reference(pfet, (107.005,164.465), rotation=pi))
bgr_coreandvrefbranch.add(gdstk.Reference(res_poly_6, (81.69,160.54), rotation=pi/2))
bgr_coreandvrefbranch.add(gdstk.Reference(pfet_1, (87.76,206.785), x_reflection=True))
bgr_coreandvrefbranch.add(gdstk.Reference(pfet_1, (87.76,189.525)))
bgr_coreandvrefbranch.add(gdstk.Reference(pfet_1, (87.76,187.765), x_reflection=True))
bgr_coreandvrefbranch.add(gdstk.Reference(pfet, (110.325,183.26), rotation=pi, x_reflection=True))
bgr_coreandvrefbranch.add(gdstk.Reference(res_poly_1, (111.29,177.365)))
bgr_coreandvrefbranch.add(gdstk.Reference(res_poly, (115.22,192.98)))
bgr_coreandvrefbranch.add(gdstk.Reference(nfet_3, (91.2,167.6), x_reflection=True))
bgr_coreandvrefbranch.add(gdstk.Reference(nfet_3, (94.52,167.6), x_reflection=True))
bgr_coreandvrefbranch.add(gdstk.Reference(nfet, (92.86,167.6), x_reflection=True))
bgr_coreandvrefbranch.add(gdstk.Reference(pfet, (111.985,196.795), rotation=pi))
bgr_coreandvrefbranch.add(gdstk.Reference(pfet, (111.985,183.26), rotation=pi, x_reflection=True))
bgr_coreandvrefbranch.add(gdstk.Reference(nfet_3, (91.2,172.105)))
bgr_coreandvrefbranch.add(gdstk.Reference(nfet_3, (94.52,172.105)))
bgr_coreandvrefbranch.add(gdstk.Reference(nfet, (92.86,172.105)))
bgr_coreandvrefbranch.add(gdstk.Reference(pfet, (110.325,196.795), rotation=pi))
bgr_coreandvrefbranch.add(gdstk.Reference(pfet, (108.665,196.795), rotation=pi))
bgr_coreandvrefbranch.add(gdstk.Reference(guard_ring_gen_7, (103.955,182.455)))
bgr_coreandvrefbranch.add(gdstk.Reference(pfet, (107.005,196.795), rotation=pi))
bgr_coreandvrefbranch.add(gdstk.Reference(pfet, (108.665,183.26), rotation=pi, x_reflection=True))
bgr_coreandvrefbranch.add(gdstk.Reference(res_poly_1, (104.61,177.365)))
bgr_coreandvrefbranch.add(gdstk.Reference(pfet, (107.005,183.26), rotation=pi, x_reflection=True))
bgr_coreandvrefbranch.add(gdstk.Reference(res_poly_1, (107.95,177.365)))
bgr_coreandvrefbranch.add(gdstk.Reference(res_poly_1, (104.61,170.115)))
bgr_coreandvrefbranch.add(gdstk.Reference(pfet_1, (90.42,206.785), x_reflection=True))
bgr_coreandvrefbranch.add(gdstk.Reference(res_poly_1, (111.29,170.115)))
bgr_coreandvrefbranch.add(gdstk.Reference(pfet_1, (90.42,189.525)))
bgr_coreandvrefbranch.add(gdstk.Reference(res_poly_1, (107.95,170.115)))
bgr_coreandvrefbranch.add(gdstk.Reference(pfet_1, (90.42,187.765), x_reflection=True))
bgr_coreandvrefbranch.add(gdstk.Reference(nfet_3, (82.9,167.6), x_reflection=True))
bgr_coreandvrefbranch.add(gdstk.Reference(pfet_1, (77.12,206.785), x_reflection=True))
bgr_coreandvrefbranch.add(gdstk.Reference(pfet_1, (79.78,206.785), x_reflection=True))
bgr_coreandvrefbranch.add(gdstk.Reference(pfet_1, (82.44,206.785), x_reflection=True))
bgr_coreandvrefbranch.add(gdstk.Reference(nfet, (81.24,167.6), x_reflection=True))
bgr_coreandvrefbranch.add(gdstk.Reference(nfet, (79.58,167.6), x_reflection=True))
bgr_coreandvrefbranch.add(gdstk.Reference(nfet_3, (77.92,167.6), x_reflection=True))
bgr_coreandvrefbranch.add(gdstk.Reference(nfet_3, (76.26,167.6), x_reflection=True))
bgr_coreandvrefbranch.add(gdstk.Reference(pfet_1, (85.1,206.785), x_reflection=True))
bgr_coreandvrefbranch.add(gdstk.Reference(nfet, (86.22,172.105)))
bgr_coreandvrefbranch.add(gdstk.Reference(nfet_3, (84.56,172.105)))
bgr_coreandvrefbranch.add(gdstk.Reference(nfet_3, (82.9,172.105)))
bgr_coreandvrefbranch.add(gdstk.Reference(nfet, (81.24,172.105)))
bgr_coreandvrefbranch.add(gdstk.Reference(nfet, (79.58,172.105)))
bgr_coreandvrefbranch.add(gdstk.Reference(nfet_3, (77.92,172.105)))
bgr_coreandvrefbranch.add(gdstk.Reference(nfet_3, (76.26,172.105)))
bgr_coreandvrefbranch.add(gdstk.Reference(nfet, (74.6,172.105)))
bgr_coreandvrefbranch.add(gdstk.Reference(nfet, (74.6,167.6), x_reflection=True))
bgr_coreandvrefbranch.add(gdstk.Reference(nfet, (72.94,172.105)))
bgr_coreandvrefbranch.add(gdstk.Reference(nfet_3, (71.28,172.105)))
bgr_coreandvrefbranch.add(gdstk.Reference(pfet_1, (66.48,206.785), x_reflection=True))
bgr_coreandvrefbranch.add(gdstk.Reference(nfet, (72.94,167.6), x_reflection=True))
bgr_coreandvrefbranch.add(gdstk.Reference(pfet_1, (69.14,206.785), x_reflection=True))
bgr_coreandvrefbranch.add(gdstk.Reference(pfet_1, (74.46,206.785), x_reflection=True))
bgr_coreandvrefbranch.add(gdstk.Reference(nfet_3, (71.28,167.6), x_reflection=True))
bgr_coreandvrefbranch.add(gdstk.Reference(nfet_3, (69.62,167.6), x_reflection=True))
bgr_coreandvrefbranch.add(gdstk.Reference(nfet_3, (69.62,172.105)))
bgr_coreandvrefbranch.add(gdstk.Reference(nfet, (67.96,172.105)))
bgr_coreandvrefbranch.add(gdstk.Reference(nfet_3, (66.3,172.105)))
bgr_coreandvrefbranch.add(gdstk.Reference(nfet_3, (66.3,167.6), x_reflection=True))
bgr_coreandvrefbranch.add(gdstk.Reference(pfet_1, (69.14,189.525)))
bgr_coreandvrefbranch.add(gdstk.Reference(pfet_1, (71.8,189.525)))
bgr_coreandvrefbranch.add(gdstk.Reference(pfet_1, (74.46,189.525)))
bgr_coreandvrefbranch.add(gdstk.Reference(pfet_1, (77.12,189.525)))
bgr_coreandvrefbranch.add(gdstk.Reference(pfet_1, (79.78,189.525)))
bgr_coreandvrefbranch.add(gdstk.Reference(pfet_1, (82.44,189.525)))
bgr_coreandvrefbranch.add(gdstk.Reference(pfet_1, (85.1,189.525)))
bgr_coreandvrefbranch.add(gdstk.Reference(pfet_1, (66.48,189.525)))
bgr_coreandvrefbranch.add(gdstk.Reference(nfet, (67.96,167.6), x_reflection=True))
bgr_coreandvrefbranch.add(gdstk.Reference(pfet_1, (71.8,206.785), x_reflection=True))
bgr_coreandvrefbranch.add(gdstk.Reference(pfet_1, (69.14,187.765), x_reflection=True))
bgr_coreandvrefbranch.add(gdstk.Reference(pfet_1, (71.8,187.765), x_reflection=True))
bgr_coreandvrefbranch.add(gdstk.Reference(pfet_1, (74.46,187.765), x_reflection=True))
bgr_coreandvrefbranch.add(gdstk.Reference(pfet_1, (77.12,187.765), x_reflection=True))
bgr_coreandvrefbranch.add(gdstk.Reference(pfet_1, (79.78,187.765), x_reflection=True))
bgr_coreandvrefbranch.add(gdstk.Reference(pfet_1, (82.44,187.765), x_reflection=True))
bgr_coreandvrefbranch.add(gdstk.Reference(pfet_1, (85.1,187.765), x_reflection=True))
bgr_coreandvrefbranch.add(gdstk.Reference(pfet_1, (66.48,187.765), x_reflection=True))
bgr_coreandvrefbranch.add(gdstk.Reference(nfet, (86.22,167.6), x_reflection=True))
bgr_coreandvrefbranch.add(gdstk.Reference(nfet_3, (84.56,167.6), x_reflection=True))
bgr_coreandvrefbranch.add(gdstk.Reference(pnp_bjt, (71.12,146.925)))
bgr_coreandvrefbranch.add(gdstk.Reference(pnp_bjt, (71.12,125.625)))
bgr_coreandvrefbranch.add(gdstk.Reference(pnp_bjt, (78.22,146.925)))
bgr_coreandvrefbranch.add(gdstk.Reference(pnp_bjt, (71.12,132.725)))
bgr_coreandvrefbranch.add(gdstk.Reference(pnp_bjt, (64.02,125.625)))
bgr_coreandvrefbranch.add(gdstk.Reference(pnp_bjt, (78.22,125.625)))
bgr_coreandvrefbranch.add(gdstk.Reference(pnp_bjt, (78.22,132.725)))
bgr_coreandvrefbranch.add(gdstk.Reference(pnp_bjt, (78.22,118.525)))
bgr_coreandvrefbranch.add(gdstk.Reference(pnp_bjt, (71.12,139.825)))
bgr_coreandvrefbranch.add(gdstk.Reference(pnp_bjt, (64.02,146.925)))
bgr_coreandvrefbranch.add(gdstk.Reference(pnp_bjt, (64.02,132.725)))
bgr_coreandvrefbranch.add(gdstk.Reference(pnp_bjt, (78.22,139.825)))
bgr_coreandvrefbranch.add(gdstk.Reference(pnp_bjt, (71.12,118.525)))
bgr_coreandvrefbranch.add(gdstk.Reference(pnp_bjt, (64.02,118.525)))
bgr_coreandvrefbranch.add(gdstk.Reference(pnp_bjt, (64.02,139.825)))
bgr_coreandvrefbranch.add(gdstk.Reference(pfet, (108.665,116.9), rotation=pi, x_reflection=True))
bgr_coreandvrefbranch.add(gdstk.Reference(pfet, (111.985,130.435), rotation=pi))
bgr_coreandvrefbranch.add(gdstk.Reference(res_poly_2, (115.22,140.25)))
bgr_coreandvrefbranch.add(gdstk.Reference(pfet, (111.985,147.46), rotation=pi))
bgr_coreandvrefbranch.add(gdstk.Reference(pfet, (105.345,133.925), rotation=pi, x_reflection=True))
bgr_coreandvrefbranch.add(gdstk.Reference(pfet, (110.325,133.925), rotation=pi, x_reflection=True))
bgr_coreandvrefbranch.add(gdstk.Reference(pfet, (108.665,133.925), rotation=pi, x_reflection=True))
bgr_coreandvrefbranch.add(gdstk.Reference(pfet, (107.005,147.46), rotation=pi))
bgr_coreandvrefbranch.add(gdstk.Reference(guard_ring_gen, (102.295,116.095)))
bgr_coreandvrefbranch.add(gdstk.Reference(guard_ring_gen_5, (102.295,133.12)))
bgr_coreandvrefbranch.add(gdstk.Reference(res_poly_2, (115.22,148.6)))
bgr_coreandvrefbranch.add(gdstk.Reference(pfet, (105.345,147.46), rotation=pi))
bgr_coreandvrefbranch.add(gdstk.Reference(pfet, (107.005,133.925), rotation=pi, x_reflection=True))
bgr_coreandvrefbranch.add(gdstk.Reference(pfet, (108.665,147.46), rotation=pi))
bgr_coreandvrefbranch.add(gdstk.Reference(pnp_bjt, (92.42,139.825)))
bgr_coreandvrefbranch.add(gdstk.Reference(pfet, (113.645,130.435), rotation=pi))
bgr_coreandvrefbranch.add(gdstk.Reference(pfet, (110.325,150.93), rotation=pi, x_reflection=True))
bgr_coreandvrefbranch.add(gdstk.Reference(pfet, (108.665,150.93), rotation=pi, x_reflection=True))
bgr_coreandvrefbranch.add(gdstk.Reference(pfet, (111.985,150.93), rotation=pi, x_reflection=True))
bgr_coreandvrefbranch.add(gdstk.Reference(pfet, (107.005,150.93), rotation=pi, x_reflection=True))
bgr_coreandvrefbranch.add(gdstk.Reference(pfet, (105.345,150.93), rotation=pi, x_reflection=True))
bgr_coreandvrefbranch.add(gdstk.Reference(pnp_bjt, (92.42,146.925)))
bgr_coreandvrefbranch.add(gdstk.Reference(pfet, (107.005,130.435), rotation=pi))
bgr_coreandvrefbranch.add(gdstk.Reference(pfet, (105.345,130.435), rotation=pi))
bgr_coreandvrefbranch.add(gdstk.Reference(pnp_bjt, (92.42,125.625)))
bgr_coreandvrefbranch.add(gdstk.Reference(pnp_bjt, (92.42,132.725)))
bgr_coreandvrefbranch.add(gdstk.Reference(pfet, (110.325,147.46), rotation=pi))
bgr_coreandvrefbranch.add(gdstk.Reference(pfet, (111.985,116.9), rotation=pi, x_reflection=True))
bgr_coreandvrefbranch.add(gdstk.Reference(pfet, (108.665,130.435), rotation=pi))
bgr_coreandvrefbranch.add(gdstk.Reference(pfet, (110.325,130.435), rotation=pi))
bgr_coreandvrefbranch.add(gdstk.Reference(pfet, (105.345,116.9), rotation=pi, x_reflection=True))
bgr_coreandvrefbranch.add(gdstk.Reference(pfet, (113.645,116.9), rotation=pi, x_reflection=True))
bgr_coreandvrefbranch.add(gdstk.Reference(pnp_bjt, (92.42,118.525)))
bgr_coreandvrefbranch.add(gdstk.Reference(pfet, (110.325,116.9), rotation=pi, x_reflection=True))
bgr_coreandvrefbranch.add(gdstk.Reference(pfet, (111.985,133.925), rotation=pi, x_reflection=True))
bgr_coreandvrefbranch.add(gdstk.Reference(pfet, (107.005,116.9), rotation=pi, x_reflection=True))

lib.write_gds('BGR_coreAndVrefBranch.gds')
